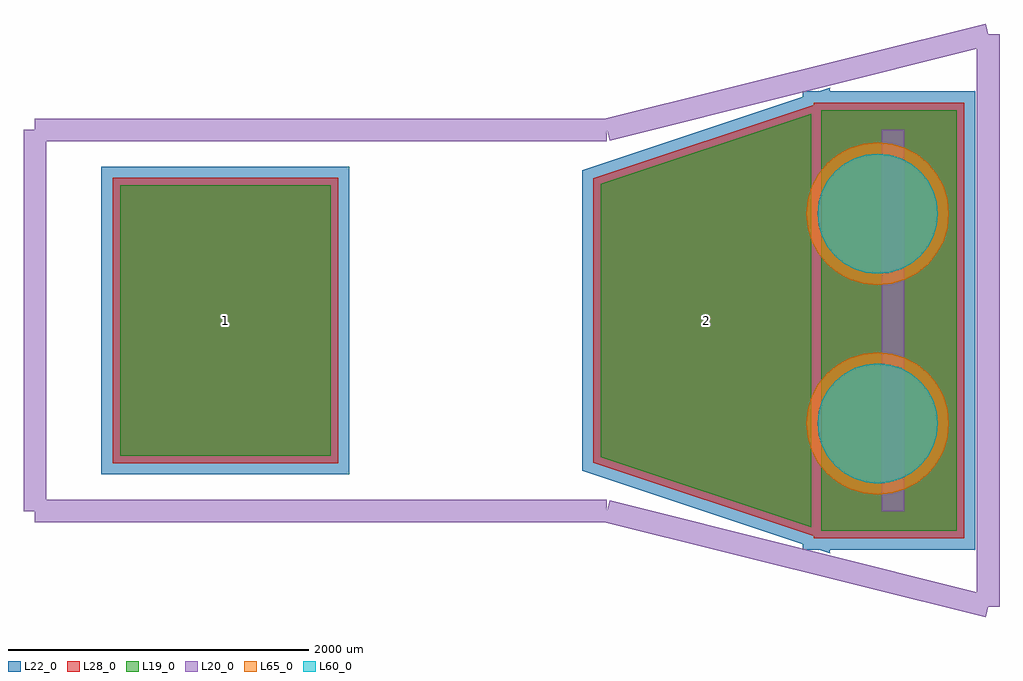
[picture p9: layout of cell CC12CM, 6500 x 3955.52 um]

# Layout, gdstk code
import gdstk
lib = gdstk.Library(unit=1e-6, precision=1e-09)
def R(c, l, rs):  # rectangles x0, y0, x1, y1
    for r in rs: c.add(gdstk.rectangle(r[:2], r[2:], *l))
def P(c, l, *ps):  # polygons
    for p in ps: c.add(gdstk.Polygon(p, *l))
L19_0 = (19, 0)
L20_0 = (20, 0)
L22_0 = (22, 0)
L28_0 = (28, 0)
L60_0 = (60, 0)
L65_0 = (65, 0)

cc12cm = lib.new_cell('CC12CM')
R(cc12cm, L19_0, [(2699.22,-1400.34,3599.98,1400.34), (-1970.57,-899.96,-569.43,899.96)])
P(cc12cm, L19_0, [(1229.83,-910.112),(1229.83,910.112),(2630.97,1377.159),(2630.97,-1377.159)])
R(cc12cm, L22_0, [(2574.22,-1525.34,3724.98,1525.34), (-2095.57,-1024.96,-444.43,1024.96)])
P(cc12cm, L22_0, [(3548.45,-685.8),(3539.322,-593.122),(3512.289,-504.006),(3468.39,-421.876),(3409.311,-349.889),(3337.324,-290.81),(3255.194,-246.911),(3166.078,-219.878),(3073.4,-210.75),(2980.722,-219.878),(2891.606,-246.911),(2809.476,-290.81),(2737.489,-349.889),(2678.41,-421.876),(2634.511,-504.006),(2607.478,-593.122),(2598.35,-685.8),(2607.478,-778.478),(2634.511,-867.594),(2678.41,-949.724),(2737.489,-1021.711),(2809.476,-1080.79),(2891.606,-1124.689),(2980.722,-1151.722),(3073.4,-1160.85),(3166.078,-1151.722),(3255.194,-1124.689),(3337.324,-1080.79),(3409.311,-1021.711),(3468.39,-949.724),(3512.289,-867.594),(3539.322,-778.478)],
  [(3548.45,711.2),(3539.322,803.878),(3512.289,892.994),(3468.39,975.124),(3409.311,1047.111),(3337.324,1106.19),(3255.194,1150.089),(3166.078,1177.122),(3073.4,1186.25),(2980.722,1177.122),(2891.606,1150.089),(2809.476,1106.19),(2737.489,1047.111),(2678.41,975.124),(2634.511,892.994),(2607.478,803.878),(2598.35,711.2),(2607.478,618.522),(2634.511,529.406),(2678.41,447.276),(2737.489,375.289),(2809.476,316.21),(2891.606,272.311),(2980.722,245.278),(3073.4,236.15),(3166.078,245.278),(3255.194,272.311),(3337.324,316.21),(3409.311,375.289),(3468.39,447.276),(3512.289,529.406),(3539.322,618.522)],
  [(1104.83,-1000.207),(1104.83,1000.207),(2755.97,1550.587),(2755.97,-1550.587)])
R(cc12cm, L28_0, [(2649.22,-1450.34,3649.98,1450.34), (-2020.57,-949.96,-519.43,949.96)])
P(cc12cm, L28_0, [(3473.45,-685.8),(3465.763,-607.754),(3442.998,-532.707),(3406.029,-463.544),(3356.278,-402.922),(3295.656,-353.171),(3226.493,-316.202),(3151.446,-293.437),(3073.4,-285.75),(2995.354,-293.437),(2920.307,-316.202),(2851.144,-353.171),(2790.522,-402.922),(2740.771,-463.544),(2703.802,-532.707),(2681.037,-607.754),(2673.35,-685.8),(2681.037,-763.846),(2703.802,-838.893),(2740.771,-908.056),(2790.522,-968.678),(2851.144,-1018.429),(2920.307,-1055.398),(2995.354,-1078.163),(3073.4,-1085.85),(3151.446,-1078.163),(3226.493,-1055.398),(3295.656,-1018.429),(3356.278,-968.678),(3406.029,-908.056),(3442.998,-838.893),(3465.763,-763.846)],
  [(3473.45,711.2),(3465.763,789.246),(3442.998,864.293),(3406.029,933.456),(3356.278,994.078),(3295.656,1043.829),(3226.493,1080.798),(3151.446,1103.563),(3073.4,1111.25),(2995.354,1103.563),(2920.307,1080.798),(2851.144,1043.829),(2790.522,994.078),(2740.771,933.456),(2703.802,864.293),(2681.037,789.246),(2673.35,711.2),(2681.037,633.154),(2703.802,558.107),(2740.771,488.944),(2790.522,428.322),(2851.144,378.571),(2920.307,341.602),(2995.354,318.837),(3073.4,311.15),(3151.446,318.837),(3226.493,341.602),(3295.656,378.571),(3356.278,428.322),(3406.029,488.944),(3442.998,558.107),(3465.763,633.154)],
  [(1179.83,-946.15),(1179.83,946.15),(2680.97,1446.53),(2680.97,-1446.53)])
P(cc12cm, L60_0, [(3473.45,-685.8),(3465.763,-607.754),(3442.998,-532.707),(3406.029,-463.544),(3356.278,-402.922),(3295.656,-353.171),(3226.493,-316.202),(3151.446,-293.437),(3073.4,-285.75),(2995.354,-293.437),(2920.307,-316.202),(2851.144,-353.171),(2790.522,-402.922),(2740.771,-463.544),(2703.802,-532.707),(2681.037,-607.754),(2673.35,-685.8),(2681.037,-763.846),(2703.802,-838.893),(2740.771,-908.056),(2790.522,-968.678),(2851.144,-1018.429),(2920.307,-1055.398),(2995.354,-1078.163),(3073.4,-1085.85),(3151.446,-1078.163),(3226.493,-1055.398),(3295.656,-1018.429),(3356.278,-968.678),(3406.029,-908.056),(3442.998,-838.893),(3465.763,-763.846)],
  [(3473.45,711.2),(3465.763,789.246),(3442.998,864.293),(3406.029,933.456),(3356.278,994.078),(3295.656,1043.829),(3226.493,1080.798),(3151.446,1103.563),(3073.4,1111.25),(2995.354,1103.563),(2920.307,1080.798),(2851.144,1043.829),(2790.522,994.078),(2740.771,933.456),(2703.802,864.293),(2681.037,789.246),(2673.35,711.2),(2681.037,633.154),(2703.802,558.107),(2740.771,488.944),(2790.522,428.322),(2851.144,378.571),(2920.307,341.602),(2995.354,318.837),(3073.4,311.15),(3151.446,318.837),(3226.493,341.602),(3295.656,378.571),(3356.278,428.322),(3406.029,488.944),(3442.998,558.107),(3465.763,633.154)])
P(cc12cm, L65_0, [(3548.45,-685.8),(3539.322,-593.122),(3512.289,-504.006),(3468.39,-421.876),(3409.311,-349.889),(3337.324,-290.81),(3255.194,-246.911),(3166.078,-219.878),(3073.4,-210.75),(2980.722,-219.878),(2891.606,-246.911),(2809.476,-290.81),(2737.489,-349.889),(2678.41,-421.876),(2634.511,-504.006),(2607.478,-593.122),(2598.35,-685.8),(2607.478,-778.478),(2634.511,-867.594),(2678.41,-949.724),(2737.489,-1021.711),(2809.476,-1080.79),(2891.606,-1124.689),(2980.722,-1151.722),(3073.4,-1160.85),(3166.078,-1151.722),(3255.194,-1124.689),(3337.324,-1080.79),(3409.311,-1021.711),(3468.39,-949.724),(3512.289,-867.594),(3539.322,-778.478)],
  [(3548.45,711.2),(3539.322,803.878),(3512.289,892.994),(3468.39,975.124),(3409.311,1047.111),(3337.324,1106.19),(3255.194,1150.089),(3166.078,1177.122),(3073.4,1186.25),(2980.722,1177.122),(2891.606,1150.089),(2809.476,1106.19),(2737.489,1047.111),(2678.41,975.124),(2634.511,892.994),(2607.478,803.878),(2598.35,711.2),(2607.478,618.522),(2634.511,529.406),(2678.41,447.276),(2737.489,375.289),(2809.476,316.21),(2891.606,272.311),(2980.722,245.278),(3073.4,236.15),(3166.078,245.278),(3255.194,272.311),(3337.324,316.21),(3409.311,375.289),(3468.39,447.276),(3512.289,529.406),(3539.322,618.522)])
cc12cm.add(gdstk.FlexPath([(3810,-1905),(3810,-1270)], 149.998, ends="flush", simple_path=True, layer=20, datatype=0))  # L20_0
cc12cm.add(gdstk.FlexPath([(1270,-1270),(3810,-1905)], 149.998, ends="flush", simple_path=True, layer=20, datatype=0))  # L20_0
cc12cm.add(gdstk.FlexPath([(-2540,-1270),(1270,-1270)], 149.998, ends="flush", simple_path=True, layer=20, datatype=0))  # L20_0
cc12cm.add(gdstk.FlexPath([(3810,1905),(3810,-1905)], 149.998, ends="flush", simple_path=True, layer=20, datatype=0))  # L20_0
cc12cm.add(gdstk.FlexPath([(1270,1270),(3810,1905)], 149.998, ends="flush", simple_path=True, layer=20, datatype=0))  # L20_0
cc12cm.add(gdstk.FlexPath([(-2540,1270),(1270,1270)], 149.998, ends="flush", simple_path=True, layer=20, datatype=0))  # L20_0
cc12cm.add(gdstk.FlexPath([(-2540,-1270),(-2540,1270)], 149.998, ends="flush", simple_path=True, layer=20, datatype=0))  # L20_0
cc12cm.add(gdstk.FlexPath([(3175,1270),(3175,-1270)], 149.998, ends="flush", simple_path=True, layer=20, datatype=0))  # L20_0
cc12cm.add(gdstk.Label('2', (1930.4,0), layer=28, texttype=0))
cc12cm.add(gdstk.Label('1', (-1270,0), layer=28, texttype=0))
cc12cm.add(gdstk.Label('type', (635,-2540), layer=9, texttype=0))
cc12cm.add(gdstk.Label('devicename', (254,2286), layer=9, texttype=0))

lib.write_gds('CC12CM.gds')
